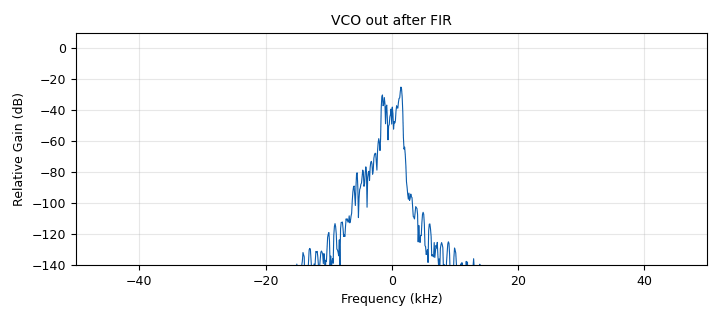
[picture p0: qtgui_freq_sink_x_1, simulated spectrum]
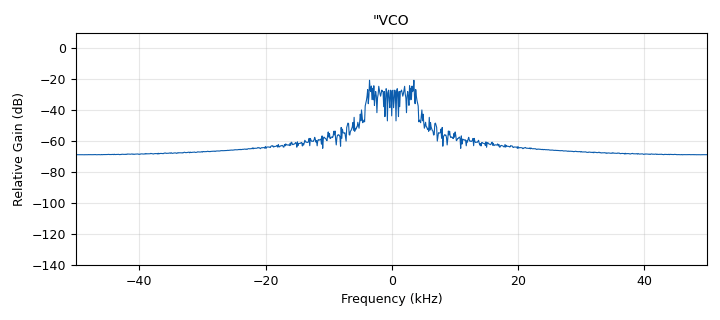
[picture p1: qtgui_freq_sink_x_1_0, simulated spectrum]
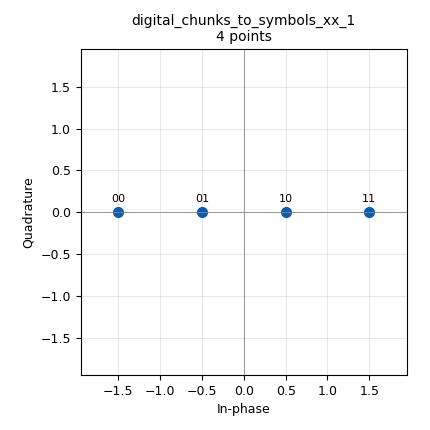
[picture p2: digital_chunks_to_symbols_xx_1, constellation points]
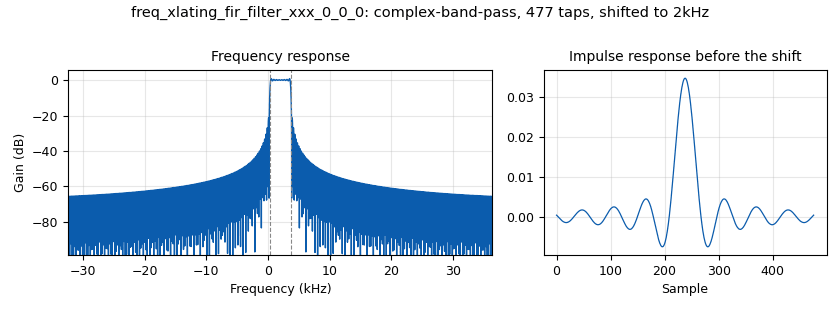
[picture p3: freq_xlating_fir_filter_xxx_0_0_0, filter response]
options:
  parameters:
    author: Ckjaer
    generate_options: qt_gui
    id: g4fsk
    output_language: python
    title: Not titled yet
  states: {}

blocks:
- name: bp_filter
  id: variable_band_pass_filter_taps
  parameters:
    gain: '1.0'
    high_cutoff_freq: th/2 + 200
    low_cutoff_freq: '-th/2 - 200'
    samp_rate: samp_rate
    type: complex_band_pass
    width: '200'
    win: window.WIN_RECTANGULAR
  states: {}
- name: interp
  id: variable_qtgui_range
  parameters:
    start: '1'
    step: '10'
    stop: '1000'
    value: '100'
  states: {}
- name: movav
  id: variable
  parameters:
    value: int(th/interp)
  states: {}
- name: samp_rate
  id: variable
  parameters:
    value: 100e3
  states: {}
- name: th
  id: variable
  parameters:
    value: 3e3
  states: {}
- name: width
  id: variable
  parameters:
    value: '500'
  states: {}
- name: analog_quadrature_demod_cf_2
  id: analog_quadrature_demod_cf
  parameters:
    gain: samp_rate*2/(2*math.pi*th)
  states: {}
- name: analog_random_source_x_0
  id: analog_random_source_x
  parameters:
    max: '256'
    min: '0'
    num_samps: '1000'
    repeat: 'True'
    type: byte
  states: {}
- name: analog_simple_squelch_cc_0
  id: analog_simple_squelch_cc
  parameters:
    alpha: '1'
    threshold: '-37'
  states: {}
- name: blocks_packed_to_unpacked_xx_1
  id: blocks_packed_to_unpacked_xx
  parameters:
    bits_per_chunk: '2'
    endianness: gr.GR_MSB_FIRST
    type: byte
  states: {}
- name: blocks_repeat_0_0
  id: blocks_repeat
  parameters:
    interp: int(interp)
    type: byte
  states: {}
- name: blocks_throttle_0
  id: blocks_throttle
  parameters:
    samples_per_second: samp_rate
    type: byte
  states: {}
- name: blocks_vco_f_1
  id: blocks_vco_f
  parameters:
    amplitude: '0.5'
    samp_rate: samp_rate
    sensitivity: 2*math.pi*th/3
  states: {}
- name: digital_chunks_to_symbols_xx_1
  id: digital_chunks_to_symbols_xx
  parameters:
    dimension: '1'
    in_type: byte
    out_type: float
    symbol_table: '[-1.5, -0.5, 0.5, 1.5]'
  states: {}
- name: epy_block_0
  id: epy_block
  parameters:
    _source_code: |
      """
      Embedded Python Blocks:

      Each time this file is saved, GRC will instantiate the first class it finds
      to get ports and parameters of your block. The arguments to __init__  will
      be the parameters. All of them are required to have default values!
      """

      import numpy as np
      from gnuradio import gr


      class blk(gr.sync_block):  # other base classes are basic_block, decim_block, interp_block
          """Embedded Python Block example - a simple multiply const"""

          def __init__(self):  # only default arguments here
              """arguments to this function show up as parameters in GRC"""
              gr.sync_block.__init__(
                  self,
                  name='Scaling',   # will show up in GRC
                  in_sig=[np.float32],
                  out_sig=[np.float32]
              )
              # if an attribute with the same name as a parameter is found,
              # a callback is registered (properties work, too).

          def work(self, input_items, output_items):
              """example: multiply with constant"""
              output_items[0][:] = (input_items[0] + 8)/4
              return len(output_items[0])
  states: {}
- name: freq_xlating_fir_filter_xxx_0_0_0
  id: freq_xlating_fir_filter_xxx
  parameters:
    center_freq: th/2 + th/(3*2)
    decim: '1'
    samp_rate: samp_rate
    taps: bp_filter
    type: fcc
  states: {}
- name: g4fsk_decoding_0
  id: g4fsk_decoding
  parameters:
    movav: movav
  states: {}
- name: interp_fir_filter_xxx_0_0
  id: interp_fir_filter_xxx
  parameters:
    comment: Gaussian filter
    interp: '1'
    taps: taps.generate_taps(4, 1)
    type: fff
  states: {}
- name: qtgui_freq_sink_x_0
  id: qtgui_freq_sink_x
  parameters:
    bw: samp_rate
    fc: '0'
    fftsize: '1024'
    nconnections: '2'
    type: float
  states: {state: disabled}
- name: qtgui_freq_sink_x_1
  id: qtgui_freq_sink_x
  parameters:
    bw: samp_rate
    fc: '0'
    fftsize: '1024'
    name: '"VCO out after FIR"'
    type: complex
  states: {}
- name: qtgui_freq_sink_x_1_0
  id: qtgui_freq_sink_x
  parameters:
    bw: samp_rate
    fc: '0'
    fftsize: '1024'
    name: '"VCO'
    type: float
    wintype: window.WIN_RECTANGULAR
  states: {}
- name: qtgui_time_sink_x_0
  id: qtgui_time_sink_x
  parameters:
    label1: Input
    label2: Demod
    nconnections: '4'
    size: '1024'
    srate: samp_rate
    type: float
  states: {}
- name: taps
  id: epy_module
  parameters:
    comment: Calculates the filter taps
    source_code: "import numpy as np\r\nfrom gnuradio import filter\r\n\r\ndef generate_taps(samples_per_symbol, bt):\r\n    samples_per_symbol = int(samples_per_symbol)\r\n    ntaps = 4 * samples_per_symbol\r\n\r\n    # Generate Gaussian filter taps\r\n    gaussian_taps = filter.firdes.gaussian(\r\n        1,                       # gain\r\n        samples_per_symbol,      # symbol_rate\r\n        bt,                      # bandwidth * symbol time\r\n        ntaps                    # number of taps\r\n    )\r\n\r\n    taps = np.convolve(np.array(gaussian_taps), np.ones(samples_per_symbol))\r\n    return taps"
  states: {}
- name: thresholds
  id: parameter
  parameters:
    type: eng_float
    value: '8'
  states: {}
- name: virtual_sink_0
  id: virtual_sink
  parameters:
    stream_id: fsk out
  states: {}
- name: virtual_source_0
  id: virtual_source
  parameters:
    stream_id: fsk out
  states: {}

connections:
- [analog_quadrature_demod_cf_2, '0', g4fsk_decoding_0, '0']
- [analog_quadrature_demod_cf_2, '0', qtgui_time_sink_x_0, '1']
- [analog_random_source_x_0, '0', blocks_packed_to_unpacked_xx_1, '0']
- [analog_simple_squelch_cc_0, '0', analog_quadrature_demod_cf_2, '0']
- [blocks_packed_to_unpacked_xx_1, '0', blocks_throttle_0, '0']
- [blocks_repeat_0_0, '0', digital_chunks_to_symbols_xx_1, '0']
- [blocks_throttle_0, '0', blocks_repeat_0_0, '0']
- [blocks_vco_f_1, '0', qtgui_freq_sink_x_1_0, '0']
- [blocks_vco_f_1, '0', virtual_sink_0, '0']
- [digital_chunks_to_symbols_xx_1, '0', interp_fir_filter_xxx_0_0, '0']
- [epy_block_0, '0', blocks_vco_f_1, '0']
- [epy_block_0, '0', qtgui_time_sink_x_0, '0']
- [freq_xlating_fir_filter_xxx_0_0_0, '0', analog_simple_squelch_cc_0, '0']
- [freq_xlating_fir_filter_xxx_0_0_0, '0', qtgui_freq_sink_x_1, '0']
- [g4fsk_decoding_0, '0', qtgui_time_sink_x_0, '2']
- [interp_fir_filter_xxx_0_0, '0', epy_block_0, '0']
- [virtual_source_0, '0', freq_xlating_fir_filter_xxx_0_0_0, '0']

metadata:
  file_format: 1
  grc_version: 3.10.9.2
